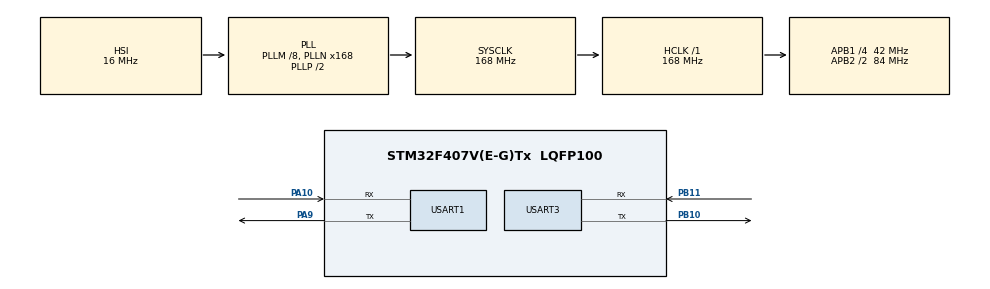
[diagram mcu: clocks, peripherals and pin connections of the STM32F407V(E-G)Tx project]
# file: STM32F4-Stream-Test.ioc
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Mcu.Family=STM32F4
Mcu.Name=STM32F407V(E-G)Tx
Mcu.Package=LQFP100
NVIC.PriorityGroup=NVIC_PRIORITYGROUP_4
PA10.Mode=Asynchronous
PA10.Signal=USART1_RX
PA9.Mode=Asynchronous
PA9.Signal=USART1_TX
PB10.Mode=Asynchronous
PB10.Signal=USART3_TX
PB11.Mode=Asynchronous
PB11.Signal=USART3_RX
ProjectManager.HeapSize=0x200
ProjectManager.StackSize=0x400
ProjectManager.TargetToolchain=MDK-ARM V5.27
RCC.48MHZClocksFreq_Value=84000000
RCC.AHBFreq_Value=168000000
RCC.APB1CLKDivider=RCC_HCLK_DIV4
RCC.APB1Freq_Value=42000000
RCC.APB1TimFreq_Value=84000000
RCC.APB2CLKDivider=RCC_HCLK_DIV2
RCC.APB2Freq_Value=84000000
RCC.APB2TimFreq_Value=168000000
RCC.CortexFreq_Value=168000000
RCC.HCLKFreq_Value=168000000
RCC.HSE_VALUE=25000000
RCC.HSI_VALUE=16000000
RCC.LSE_VALUE=32768
RCC.PLLM=8
RCC.PLLN=168
RCC.SYSCLKFreq_VALUE=168000000
RCC.SYSCLKSource=RCC_SYSCLKSOURCE_PLLCLK
RCC.VCOOutputFreq_Value=336000000
USART1.VirtualMode=VM_ASYNC
USART3.VirtualMode=VM_ASYNC
board=custom

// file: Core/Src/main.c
/* USER CODE BEGIN Header */
/**
  ******************************************************************************
  * @file           : main.c
  * @brief          : Main program body
  ******************************************************************************
  * @attention
  *
  * <h2><center>&copy; Copyright (c) 2024 STMicroelectronics.
  * All rights reserved.</center></h2>
  *
  * This software component is licensed by ST under BSD 3-Clause license,
  * the "License"; You may not use this file except in compliance with the
  * License. You may obtain a copy of the License at:
  *                        opensource.org/licenses/BSD-3-Clause
  *
  ******************************************************************************
  */
/* USER CODE END Header */
#include "main.h"
#include "usart.h"
#include "gpio.h"

/* USER CODE BEGIN Includes */
#include <stdio.h>
#include <string.h>

#include "StreamBuffer.h"

#if STREAM_WRITE && STREAM_PENDING_BYTES
    #include "OutputStream.h"
#endif
#if STREAM_READ && STREAM_PENDING_BYTES
    #include "InputStream.h"
#endif

#include <time.h>

/* USER CODE END Includes */

/* USER CODE BEGIN PD */
#define CYCLES_NUM                          20
// System Print log define
#define PRINTF                              printf
#define PRINT_DUMP                          1
// System Caluclate time define
#define SYSTEM_TIME_TYPE                    uint32_t
#define GET_SYSTEM_TIME()                   HAL_GetTick()
#define START_CALCULATE_TIME()              SYSTEM_TIME_TYPE elapsed = GET_SYSTEM_TIME()
#define CALCULATE_TIME()                    elapsed = GET_SYSTEM_TIME() - elapsed; \
                                            PRINTF("\n[Elapsed Time: %u]\n\n", elapsed)

/* USER CODE END PD */

/* USER CODE BEGIN PV */
volatile uint32_t assertResult;
volatile uint8_t cycles;
volatile uint8_t index = 0;
/* USER CODE END PV */

void SystemClock_Config(void);
/* USER CODE BEGIN PFP */
// assert functions
uint32_t Assert_Char(char num1, char num2, uint16_t line, uint8_t cycle, uint8_t index);
uint32_t Assert_Int8(int8_t num1, int8_t num2, uint16_t line, uint8_t cycle, uint8_t index);
uint32_t Assert_Int16(int16_t num1, int16_t num2, uint16_t line, uint8_t cycle, uint8_t index);
uint32_t Assert_Int32(int32_t num1, int32_t num2, uint16_t line, uint8_t cycle, uint8_t index);
uint32_t Assert_UInt8(uint8_t num1, uint8_t num2, uint16_t line, uint8_t cycle, uint8_t index);
uint32_t Assert_UInt16(uint16_t num1, uint16_t num2, uint16_t line, uint8_t cycle, uint8_t index);
uint32_t Assert_UInt32(uint32_t num1, uint32_t num2, uint16_t line, uint8_t cycle, uint8_t index);
uint32_t Assert_Float(float num1, float num2, uint16_t line, uint8_t cycle, uint8_t index);
#if STREAM_UINT64
    uint32_t Assert_Int64(int64_t num1, int64_t num2, uint16_t line, uint8_t cycle, uint8_t index);
    uint32_t Assert_UInt64(uint64_t num1, uint64_t num2, uint16_t line, uint8_t cycle, uint8_t index);
#endif // STREAM_UINT64
#if STREAM_DOUBLE
    uint32_t Assert_Double(double num1, double num2, uint16_t line, uint8_t cycle, uint8_t index);
#endif
uint32_t Assert_Bytes(uint8_t* a, uint8_t* b, uint32_t len, uint16_t line, uint8_t cycle, uint8_t index);

#define Assert_Result(...)                  __VA_ARGS__
#define Assert_Byte(...)                    Assert_UInt8(__VA_ARGS__)
#define Assert_Word(...)                    Assert_UInt16(__VA_ARGS__)
#define Assert_DWord(...)                   Assert_UInt32(__VA_ARGS__)
#define Assert_QWord(...)                   Assert_UInt64(__VA_ARGS__)

void Assert_dump(StreamBuffer* stream);

#if PRINT_DUMP == 0
    #define assert(TYPE, ...)               if ((assertResult = Assert_ ##TYPE (__VA_ARGS__, __LINE__, cycles, index)) != Stream_Ok) return assertResult;
#else
    #define assert(TYPE, ...)               if ((assertResult = Assert_ ##TYPE (__VA_ARGS__, __LINE__, cycles, index)) != Stream_Ok) { Assert_dump((StreamBuffer*) &stream); return assertResult; }
#endif

void printHeader(const char* header, char c);
/* USER CODE END PFP */

/* USER CODE BEGIN 0 */
typedef uint32_t (*Test_Fn)(void);

uint32_t Test_readWrite(void);
#if OSTREAM && ISTREAM
    uint32_t Test_IO_readWrite(void);
#endif
#if STREAM_WRITE_STREAM && STREAM_READ_STREAM
    uint32_t Test_readStream(void);
#if OSTREAM && ISTREAM
    uint32_t Test_IO_readStream(void);
#endif
#endif
#if STREAM_WRITE_FLIP && STREAM_READ_FLIP
    uint32_t Test_flip(void);
#endif
#if STREAM_WRITE_ARRAY && STREAM_READ_ARRAY
    uint32_t Test_readWriteArray(void);
#if OSTREAM && ISTREAM
    uint32_t Test_IO_readWriteArray(void);
#endif
#endif
#if STREAM_GET_AT
    uint32_t Test_get(void);
#if OSTREAM && ISTREAM
    uint32_t Test_IO_get(void);
#endif
#endif
#if STREAM_SET_AT
    uint32_t Test_set(void);
#if OSTREAM && ISTREAM
    uint32_t Test_IO_set(void);
#endif
#endif
#if STREAM_FIND_AT && STREAM_FIND
    uint32_t Test_find(void);
#if OSTREAM && ISTREAM
    uint32_t Test_IO_find(void);
#endif
#endif
#if STREAM_WRITE_LOCK && STREAM_READ_LOCK
    uint32_t Test_lock(void);
#endif
#if STREAM_TRANSPOSE
    uint32_t Test_transpose(void);
#if OSTREAM && ISTREAM
    uint32_t Test_IO_transpose(void);
#endif
#endif

static const Test_Fn TESTS[] = {
    Test_readWrite,
#if OSTREAM && ISTREAM
    Test_IO_readWrite,
#endif
#if STREAM_WRITE_STREAM && STREAM_READ_STREAM
    Test_readStream,
#if OSTREAM && ISTREAM
    Test_IO_readStream,
#endif
#endif
#if STREAM_WRITE_FLIP && STREAM_READ_FLIP
    Test_flip,
#endif
#if STREAM_WRITE_ARRAY && STREAM_READ_ARRAY
    Test_readWriteArray,
#if OSTREAM && ISTREAM
    Test_IO_readWriteArray,
#endif
#endif
#if STREAM_GET_AT && STREAM_GET
    Test_get,
#if OSTREAM && ISTREAM
    Test_IO_get,
#endif
#endif
#if STREAM_SET_AT
    Test_set,
#if OSTREAM && ISTREAM
    Test_IO_set,
#endif
#endif
#if STREAM_FIND_AT && STREAM_FIND
    Test_find,
#if OSTREAM && ISTREAM
    Test_IO_find,
#endif
#endif
#if STREAM_WRITE_LOCK && STREAM_READ_LOCK
    Test_lock,
#endif
#if STREAM_TRANSPOSE
    Test_transpose,
#if OSTREAM && ISTREAM
    Test_IO_transpose,
#endif
#endif
};
static const uint32_t TESTES_LEN = sizeof(TESTS) / sizeof(TESTS[0]);

/* USER CODE END 0 */

int main(void)
{

  /* MCU Configuration--------------------------------------------------------*/

  /* Reset of all peripherals, Initializes the Flash interface and the Systick. */
  HAL_Init();

  /* Configure the system clock */
  SystemClock_Config();

  /* Initialize all configured peripherals */
  MX_GPIO_Init();
  MX_USART1_UART_Init();
  MX_USART3_UART_Init();

  /* Infinite loop */
  /* USER CODE BEGIN WHILE */
	uint32_t result;
	uint32_t errorCount = 0;
	int testIndex;

	for (testIndex = 0; testIndex < TESTES_LEN; testIndex++) {
			START_CALCULATE_TIME();
			result = TESTS[testIndex]();
			CALCULATE_TIME();
			if (result) {
					errorCount++;
					PRINTF("Cycle: %3u, Index: %3u, Line: %3u\n\n", result & 0xFF, (result >> 8) & 0xFF, (result >> 16) & 0xFFFF);
			}
	}
	if (errorCount > 0) {
			PRINTF("Error Count: %u\n", errorCount);
	}
	else {
			PRINTF("Test Pass\n");
	}
  /* USER CODE END 3 */
}

void SystemClock_Config(void)
{
  RCC_OscInitTypeDef RCC_OscInitStruct = {0};
  RCC_ClkInitTypeDef RCC_ClkInitStruct = {0};

  /** Configure the main internal regulator output voltage
  */
  __HAL_RCC_PWR_CLK_ENABLE();
  __HAL_PWR_VOLTAGESCALING_CONFIG(PWR_REGULATOR_VOLTAGE_SCALE1);
  /** Initializes the RCC Oscillators according to the specified parameters
  * in the RCC_OscInitTypeDef structure.
  */
  RCC_OscInitStruct.OscillatorType = RCC_OSCILLATORTYPE_HSI;
  RCC_OscInitStruct.HSIState = RCC_HSI_ON;
  RCC_OscInitStruct.HSICalibrationValue = RCC_HSICALIBRATION_DEFAULT;
  RCC_OscInitStruct.PLL.PLLState = RCC_PLL_ON;
  RCC_OscInitStruct.PLL.PLLSource = RCC_PLLSOURCE_HSI;
  RCC_OscInitStruct.PLL.PLLM = 8;
  RCC_OscInitStruct.PLL.PLLN = 168;
  RCC_OscInitStruct.PLL.PLLP = RCC_PLLP_DIV2;
  RCC_OscInitStruct.PLL.PLLQ = 4;
  if (HAL_RCC_OscConfig(&RCC_OscInitStruct) != HAL_OK)
  {
    Error_Handler();
  }
  /** Initializes the CPU, AHB and APB buses clocks
  */
  RCC_ClkInitStruct.ClockType = RCC_CLOCKTYPE_HCLK|RCC_CLOCKTYPE_SYSCLK
                              |RCC_CLOCKTYPE_PCLK1|RCC_CLOCKTYPE_PCLK2;
  RCC_ClkInitStruct.SYSCLKSource = RCC_SYSCLKSOURCE_PLLCLK;
  RCC_ClkInitStruct.AHBCLKDivider = RCC_SYSCLK_DIV1;
  RCC_ClkInitStruct.APB1CLKDivider = RCC_HCLK_DIV4;
  RCC_ClkInitStruct.APB2CLKDivider = RCC_HCLK_DIV2;

  if (HAL_RCC_ClockConfig(&RCC_ClkInitStruct, FLASH_LATENCY_5) != HAL_OK)
  {
    Error_Handler();
  }
}

/* USER CODE BEGIN 4 */
/********************************************************/
void printHeader(const char* header, char c) {
    uint32_t len = 64 - strlen(header);

    len = len & ~0x1U;

    len >>= 1;

    for (uint32_t i = 0; i < len; i++) {
        PRINTF("%c", c);
    }
    PRINTF(" %s ", header);
    for (uint32_t i = 0; i < len; i++) {
        PRINTF("%c", c);
    }
    PRINTF("\n");
}
/********************************************************/
uint32_t Test_readWrite(void) {
    #define test(TYPE, N)               PRINTF("Write/Read " #TYPE ", %ux\n", N);\
                                        for (cycles = 0; cycles < CYCLES_NUM; cycles++) {\
                                            for (index = 0; index < N; index++) {\
                                                Stream_write ##TYPE (&stream, cycles * N + index);\
                                            }\
                                            for (index = 0; index < N; index++) {\
                                                assert(TYPE, Stream_read ##TYPE (&stream), cycles * N + index);\
                                            }\
                                        }

    #define testBytes(TYPE, PAT, N)     PRINTF("Write/Read " #TYPE ", %ux\n", N);\
                                        for (cycles = 0; cycles < CYCLES_NUM; cycles++) {\
                                            for (index = 0; index < N; index++) {\
                                                Stream_write ##TYPE (&stream, (uint8_t*) PAT, sizeof(PAT));\
                                            }\
                                            for (index = 0; index < N; index++) {\
                                                Stream_read ##TYPE (&stream, tempBuff, sizeof(PAT));\
                                                assert(Bytes, tempBuff, (uint8_t*) PAT, sizeof(PAT));\
                                            }\
                                        }

    printHeader("Read/Write", '#');

    const uint8_t PAT1[] = {
        0x11, 0x22, 0x33, 0x44, 0x55, 0x66, 0x77
    };
    const uint8_t PAT2[] = {
        0x1A, 0x2A, 0x3A, 0x4A, 0x5A,
    };
    const uint8_t PAT3[] = {
        0x1B, 0x2B, 0x3B,
    };
    const uint8_t PAT4[] = {
        0x1C, 0x2C, 0x3C, 0x4C,
    };
    uint8_t tempBuff[20];
    uint8_t streamBuff[37];
    StreamBuffer stream;

    Stream_init(&stream, streamBuff, sizeof(streamBuff));

    testBytes(Bytes, PAT1, 1);
    testBytes(Bytes, PAT1, 3);
    testBytes(Bytes, PAT1, 5);
    testBytes(Bytes, PAT1, 7);

    testBytes(Bytes, PAT2, 1);
    testBytes(Bytes, PAT2, 3);
    testBytes(Bytes, PAT2, 5);
    testBytes(Bytes, PAT2, 7);

    testBytes(Bytes, PAT3, 1);
    testBytes(Bytes, PAT3, 3);
    testBytes(Bytes, PAT3, 5);
    testBytes(Bytes, PAT3, 7);

    testBytes(Bytes, PAT4, 1);
    testBytes(Bytes, PAT4, 3);
    testBytes(Bytes, PAT4, 5);
    testBytes(Bytes, PAT4, 7);
#if STREAM_WRITE_REVERSE && STREAM_READ_REVERSE
    testBytes(BytesReverse, PAT1, 1);
    testBytes(BytesReverse, PAT1, 3);
    testBytes(BytesReverse, PAT1, 5);
    testBytes(BytesReverse, PAT1, 7);

    testBytes(BytesReverse, PAT2, 1);
    testBytes(BytesReverse, PAT2, 3);
    testBytes(BytesReverse, PAT2, 5);
    testBytes(BytesReverse, PAT2, 7);

    testBytes(BytesReverse, PAT3, 1);
    testBytes(BytesReverse, PAT3, 3);
    testBytes(BytesReverse, PAT3, 5);
    testBytes(BytesReverse, PAT3, 7);

    testBytes(BytesReverse, PAT4, 1);
    testBytes(BytesReverse, PAT4, 3);
    testBytes(BytesReverse, PAT4, 5);
    testBytes(BytesReverse, PAT4, 7);
#endif
#if STREAM_BYTE_ORDER
    for (ByteOrder order = ByteOrder_LittleEndian; order <= ByteOrder_BigEndian; order++) {
    Stream_setByteOrder(&stream, order);
    PRINTF("--------- Order: %u ---------\n", order);
#endif // STREAM_BYTE_ORDER

#if STREAM_CHAR
    test(Char, 1);
    test(Char, 3);
    test(Char, 5);
    test(Char, 7);
#endif
#if STREAM_UINT8
    test(Int8, 1);
    test(Int8, 3);
    test(Int8, 5);
    test(Int8, 7);

    test(UInt8, 1);
    test(UInt8, 3);
    test(UInt8, 5);
    test(UInt8, 7);
#endif
#if STREAM_UINT16
    test(Int16, 1);
    test(Int16, 3);
    test(Int16, 5);
    test(Int16, 7);

    test(UInt16, 1);
    test(UInt16, 3);
    test(UInt16, 5);
    test(UInt16, 7);
#endif
#if STREAM_UINT32
    test(Int32, 1);
    test(Int32, 3);
    test(Int32, 5);
    test(Int32, 7);

    test(UInt32, 1);
    test(UInt32, 3);
    test(UInt32, 5);
    test(UInt32, 7);
#endif
#if STREAM_UINT64
    test(Int64, 1);
    test(Int64, 3);
    test(Int64, 4);

    test(UInt64, 1);
    test(UInt64, 3);
    test(UInt64, 4);
#endif
#if STREAM_FLOAT
    test(Float, 1);
    test(Float, 3);
    test(Float, 5);
    test(Float, 7);
#endif
#if STREAM_DOUBLE
    test(Double, 1);
    test(Double, 3);
    test(Double, 4);
#endif

#if STREAM_BYTE_ORDER
    }
#endif // STREAM_BYTE_ORDER

    return 0;
#undef test
#undef testBytes
}
/********************************************************/
#if OSTREAM && ISTREAM
uint32_t Test_IO_readWrite(void) {
    #define test(TYPE, N)               PRINTF("Write/Read " #TYPE ", %ux\n", N);\
                                        for (cycles = 0; cycles < CYCLES_NUM; cycles++) {\
                                            for (index = 0; index < N; index++) {\
                                                OStream_write ##TYPE (&stream, cycles * N + index);\
                                            }\
                                            for (index = 0; index < N; index++) {\
                                                assert(TYPE, IStream_read ##TYPE (&stream), cycles * N + index);\
                                            }\
                                        }

    #define testBytes(TYPE, PAT, N)     PRINTF("Write/Read " #TYPE ", %ux\n", N);\
                                        for (cycles = 0; cycles < CYCLES_NUM; cycles++) {\
                                            for (index = 0; index < N; index++) {\
                                                OStream_write ##TYPE (&stream, (uint8_t*) PAT, sizeof(PAT));\
                                            }\
                                            for (index = 0; index < N; index++) {\
                                                IStream_read ##TYPE (&stream, tempBuff, sizeof(PAT));\
                                                assert(Bytes, tempBuff, (uint8_t*) PAT, sizeof(PAT));\
                                            }\
                                        }

    printHeader("IO Read/Write", '#');

    const uint8_t PAT1[] = {
        0x11, 0x22, 0x33, 0x44, 0x55, 0x66, 0x77
    };
    const uint8_t PAT2[] = {
        0x1A, 0x2A, 0x3A, 0x4A, 0x5A,
    };
    const uint8_t PAT3[] = {
        0x1B, 0x2B, 0x3B,
    };
    const uint8_t PAT4[] = {
        0x1C, 0x2C, 0x3C, 0x4C,
    };
    uint8_t tempBuff[20];
    uint8_t streamBuff[37];
    OStream stream;

    OStream_init(&stream, NULL, streamBuff, sizeof(streamBuff));

    testBytes(Bytes, PAT1, 1);
    testBytes(Bytes, PAT1, 3);
    testBytes(Bytes, PAT1, 5);
    testBytes(Bytes, PAT1, 7);

    testBytes(Bytes, PAT2, 1);
    testBytes(Bytes, PAT2, 3);
    testBytes(Bytes, PAT2, 5);
    testBytes(Bytes, PAT2, 7);

    testBytes(Bytes, PAT3, 1);
    testBytes(Bytes, PAT3, 3);
    testBytes(Bytes, PAT3, 5);
    testBytes(Bytes, PAT3, 7);

    testBytes(Bytes, PAT4, 1);
    testBytes(Bytes, PAT4, 3);
    testBytes(Bytes, PAT4, 5);
    testBytes(Bytes, PAT4, 7);
#if STREAM_WRITE_REVERSE && STREAM_READ_REVERSE
    testBytes(BytesReverse, PAT1, 1);
    testBytes(BytesReverse, PAT1, 3);
    testBytes(BytesReverse, PAT1, 5);
    testBytes(BytesReverse, PAT1, 7);

    testBytes(BytesReverse, PAT2, 1);
    testBytes(BytesReverse, PAT2, 3);
    testBytes(BytesReverse, PAT2, 5);
    testBytes(BytesReverse, PAT2, 7);

    testBytes(BytesReverse, PAT3, 1);
    testBytes(BytesReverse, PAT3, 3);
    testBytes(BytesReverse, PAT3, 5);
    testBytes(BytesReverse, PAT3, 7);

    testBytes(BytesReverse, PAT4, 1);
    testBytes(BytesReverse, PAT4, 3);
    testBytes(BytesReverse, PAT4, 5);
    testBytes(BytesReverse, PAT4, 7);
#endif
#if STREAM_BYTE_ORDER
    for (ByteOrder order = ByteOrder_LittleEndian; order <= ByteOrder_BigEndian; order++) {
    OStream_setByteOrder(&stream, order);
    PRINTF("--------- Order: %u ---------\n", order);
#endif // STREAM_BYTE_ORDER

#if STREAM_CHAR
    test(Char, 1);
    test(Char, 3);
    test(Char, 5);
    test(Char, 7);
#endif
#if STREAM_UINT8
    test(Int8, 1);
    test(Int8, 3);
    test(Int8, 5);
    test(Int8, 7);

    test(UInt8, 1);
    test(UInt8, 3);
    test(UInt8, 5);
    test(UInt8, 7);
#endif
#if STREAM_UINT16
    test(Int16, 1);
    test(Int16, 3);
    test(Int16, 5);
    test(Int16, 7);

    test(UInt16, 1);
    test(UInt16, 3);
    test(UInt16, 5);
    test(UInt16, 7);
#endif
#if STREAM_UINT32
    test(Int32, 1);
    test(Int32, 3);
    test(Int32, 5);
    test(Int32, 7);

    test(UInt32, 1);
    test(UInt32, 3);
    test(UInt32, 5);
    test(UInt32, 7);
#endif
#if STREAM_UINT64
    test(Int64, 1);
    test(Int64, 3);
    test(Int64, 4);

    test(UInt64, 1);
    test(UInt64, 3);
    test(UInt64, 4);
#endif
#if STREAM_FLOAT
    test(Float, 1);
    test(Float, 3);
    test(Float, 5);
    test(Float, 7);
#endif
#if STREAM_DOUBLE
    test(Double, 1);
    test(Double, 3);
    test(Double, 4);
#endif

#if STREAM_BYTE_ORDER
    }
#endif // STREAM_BYTE_ORDER

    return 0;
#undef test
#undef testBytes
}
#endif
/********************************************************/
#if STREAM_WRITE_STREAM && STREAM_READ_STREAM
uint32_t Test_readStream(void) {
// for compatibility with print dump
#define stream      out

    printHeader("Read Stream", '#');

    const uint8_t PAT[] = {
        0x11, 0x22, 0x33, 0x44, 0x55, 0x66, 0x77
    };

    uint8_t tempBuff[40];
    uint8_t inBuff[40];
    uint8_t outBuff[40];
    StreamBuffer in;
    StreamBuffer out;
    int cycles;

    Stream_init(&in, inBuff, sizeof(inBuff));
    Stream_init(&out, outBuff, sizeof(outBuff));

    for (cycles = 0; cycles < CYCLES_NUM; cycles++) {
        // write to out
        Stream_writeBytes(&out, (uint8_t*) PAT, sizeof(PAT));
        // transfer output to input
        Stream_readStream(&out, &in, Stream_available(&out));
        // read from input
        Stream_readBytes(&in, tempBuff, Stream_available(&in));
        // verify
        assert(Bytes, tempBuff, (uint8_t*) PAT, sizeof(PAT));
        // clear temp
        memset(tempBuff, 0, sizeof(tempBuff));
    }

    return 0;
#undef stream
}
/********************************************************/
#if OSTREAM && ISTREAM
uint32_t Test_IO_readStream(void) {
// for compatibility with print dump
#define stream      out

    printHeader("IO Read Stream", '#');

    const uint8_t PAT[] = {
        0x11, 0x22, 0x33, 0x44, 0x55, 0x66, 0x77
    };

    uint8_t tempBuff[40];
    uint8_t inBuff[40];
    uint8_t outBuff[40];
    IStream in;
    OStream out;
    int cycles;

    IStream_init(&in, NULL, inBuff, sizeof(inBuff));
    OStream_init(&out, NULL, outBuff, sizeof(outBuff));

    for (cycles = 0; cycles < CYCLES_NUM; cycles++) {
        // write to out
        OStream_writeBytes(&out, (uint8_t*) PAT, sizeof(PAT));
        // transfer output to input
        IStream_readStream(&out, &in, OStream_pendingBytes(&out));
        // read from input
        IStream_readBytes(&in, tempBuff, IStream_available(&in));
        // verify
        assert(Bytes, tempBuff, (uint8_t*) PAT, sizeof(PAT));
        // clear temp
        memset(tempBuff, 0, sizeof(tempBuff));
    }

    return 0;
#undef stream
}
#endif
#endif
/********************************************************/
#if STREAM_WRITE_ARRAY && STREAM_READ_ARRAY
uint32_t Test_readWriteArray(void) {
    #define test(TYPE, VAL_TY, L)       { \
                                            VAL_TY val[L] = {0}; \
                                            VAL_TY tmp[L] = {0}; \
                                            PRINTF("Write/Read Array " #TYPE ", %ux\n", L);\
                                            for (cycles = 0; cycles < CYCLES_NUM; cycles++) {\
                                                for (index = 0; index < L; index++) {\
                                                    val[index] =  cycles * L + index;\
                                                } \
                                                Stream_write ##TYPE ##Array (&stream, val, L); \
                                                Stream_read ##TYPE ##Array (&stream, tmp, L); \
                                                for (index = 0; index < L; index++) { \
                                                    assert(TYPE, tmp[index], val[index]); \
                                                } \
                                            } \
                                        }

    printHeader("Read/Write Array", '#');

    uint8_t streamBuff[37];
    StreamBuffer stream;

    Stream_init(&stream, streamBuff, sizeof(streamBuff));

#if STREAM_BYTE_ORDER
    for (ByteOrder order = ByteOrder_LittleEndian; order <= ByteOrder_BigEndian; order++) {
    Stream_setByteOrder(&stream, order);
    PRINTF("--------- Array Order: %u ---------\n", order);
#endif // STREAM_BYTE_ORDER

#if STREAM_CHAR
    test(Char, char, 1);
    test(Char, char, 3);
    test(Char, char, 5);
    test(Char, char, 7);
#endif
#if STREAM_UINT8
    test(Int8, int8_t, 1);
    test(Int8, int8_t, 3);
    test(Int8, int8_t, 5);
    test(Int8, int8_t, 7);

    test(UInt8, uint8_t, 1);
    test(UInt8, uint8_t, 3);
    test(UInt8, uint8_t, 5);
    test(UInt8, uint8_t, 7);
#endif
#if STREAM_UINT16
    test(Int16, int16_t, 1);
    test(Int16, int16_t, 3);
    test(Int16, int16_t, 5);
    test(Int16, int16_t, 7);

    test(UInt16, uint16_t, 1);
    test(UInt16, uint16_t, 3);
    test(UInt16, uint16_t, 5);
    test(UInt16, uint16_t, 7);
#endif
#if STREAM_UINT32
    test(Int32, int32_t, 1);
    test(Int32, int32_t, 3);
    test(Int32, int32_t, 5);
    test(Int32, int32_t, 7);

    test(UInt32, uint32_t, 1);
    test(UInt32, uint32_t, 3);
    test(UInt32, uint32_t, 5);
    test(UInt32, uint32_t, 7);
#endif
#if STREAM_UINT64
    test(Int64, int64_t, 1);
    test(Int64, int64_t, 3);
    test(Int64, int64_t, 4);

    test(UInt64, uint64_t, 1);
    test(UInt64, uint64_t, 3);
    test(UInt64, uint64_t, 4);
#endif
#if STREAM_FLOAT
    test(Float, float, 1);
    test(Float, float, 3);
    test(Float, float, 5);
    test(Float, float, 7);
#endif
#if STREAM_DOUBLE
    test(Double, double, 1);
    test(Double, double, 3);
    test(Double, double, 4);
#endif

#if STREAM_BYTE_ORDER
    }
#endif // STREAM_BYTE_ORDER

    return 0;
#undef test
}
/********************************************************/
#if OSTREAM && ISTREAM
uint32_t Test_IO_readWriteArray(void) {
    #define test(TYPE, VAL_TY, L)       { \
                                            VAL_TY val[L] = {0}; \
                                            VAL_TY tmp[L] = {0}; \
                                            PRINTF("Write/Read Array " #TYPE ", %ux\n", L);\
                                            for (cycles = 0; cycles < CYCLES_NUM; cycles++) {\
                                                for (index = 0; index < L; index++) {\
                                                    val[index] =  cycles * L + index;\
                                                } \
                                                OStream_write ##TYPE ##Array (&stream, val, L); \
                                                IStream_read ##TYPE ##Array (&stream, tmp, L); \
                                                for (index = 0; index < L; index++) { \
                                                    assert(TYPE, tmp[index], val[index]); \
                                                } \
                                            } \
                                        }

    printHeader("IO Read/Write Array", '#');

    uint8_t streamBuff[37];
    OStream stream;

    OStream_init(&stream, NULL, streamBuff, sizeof(streamBuff));

#if STREAM_BYTE_ORDER
    for (ByteOrder order = ByteOrder_LittleEndian; order <= ByteOrder_BigEndian; order++) {
    OStream_setByteOrder(&stream, order);
    PRINTF("--------- Array Order: %u ---------\n", order);
#endif // STREAM_BYTE_ORDER

#if STREAM_CHAR
    test(Char, char, 1);
    test(Char, char, 3);
    test(Char, char, 5);
    test(Char, char, 7);
#endif
#if STREAM_UINT8
    test(Int8, int8_t, 1);
    test(Int8, int8_t, 3);
    test(Int8, int8_t, 5);
    test(Int8, int8_t, 7);

    test(UInt8, uint8_t, 1);
    test(UInt8, uint8_t, 3);
    test(UInt8, uint8_t, 5);
    test(UInt8, uint8_t, 7);
#endif
#if STREAM_UINT16
    test(Int16, int16_t, 1);
    test(Int16, int16_t, 3);
    test(Int16, int16_t, 5);
    test(Int16, int16_t, 7);

    test(UInt16, uint16_t, 1);
    test(UInt16, uint16_t, 3);
    test(UInt16, uint16_t, 5);
    test(UInt16, uint16_t, 7);
#endif
#if STREAM_UINT32
    test(Int32, int32_t, 1);
    test(Int32, int32_t, 3);
    test(Int32, int32_t, 5);
    test(Int32, int32_t, 7);

    test(UInt32, uint32_t, 1);
    test(UInt32, uint32_t, 3);
    test(UInt32, uint32_t, 5);
    test(UInt32, uint32_t, 7);
#endif
#if STREAM_UINT64
    test(Int64, int64_t, 1);
    test(Int64, int64_t, 3);
    test(Int64, int64_t, 4);

    test(UInt64, uint64_t, 1);
    test(UInt64, uint64_t, 3);
    test(UInt64, uint64_t, 4);
#endif
#if STREAM_FLOAT
    test(Float, float, 1);
    test(Float, float, 3);
    test(Float, float, 5);
    test(Float, float, 7);
#endif
#if STREAM_DOUBLE
    test(Double, double, 1);
    test(Double, double, 3);
    test(Double, double, 4);
#endif

#if STREAM_BYTE_ORDER
    }
#endif // STREAM_BYTE_ORDER

    return 0;
#undef test
}
#endif
#endif
/********************************************************/
#if STREAM_GET_AT
uint32_t Test_get(void) {
    #define test(TYPE, VAL_TY, N)       { \
                                            PRINTF("Get " #TYPE ", %ux\n", N);\
                                            for (cycles = 0; cycles < CYCLES_NUM; cycles++) {\
                                                for (index = 0; index < N; index++) {\
                                                    Stream_write ##TYPE (&stream, cycles * N + index); \
                                                } \
                                                for (index = 0; index < N; index++) { \
                                                    assert(TYPE, Stream_get ##TYPE ##At (&stream, index * sizeof(VAL_TY)), cycles * N + index); \
                                                } \
                                                Stream_moveReadPos(&stream, N * sizeof(VAL_TY)); \
                                            } \
                                        }

    printHeader("Get", '#');

    uint8_t streamBuff[37];
    StreamBuffer stream;

    Stream_init(&stream, streamBuff, sizeof(streamBuff));

#if STREAM_BYTE_ORDER
    for (ByteOrder order = ByteOrder_LittleEndian; order <= ByteOrder_BigEndian; order++) {
    Stream_setByteOrder(&stream, order);
    PRINTF("--------- Get Order: %u ---------\n", order);
#endif // STREAM_BYTE_ORDER

#if STREAM_CHAR
    test(Char, char, 1);
    test(Char, char, 3);
    test(Char, char, 5);
    test(Char, char, 7);
#endif
#if STREAM_UINT8
    test(Int8, int8_t, 1);
    test(Int8, int8_t, 3);
    test(Int8, int8_t, 5);
    test(Int8, int8_t, 7);

    test(UInt8, uint8_t, 1);
    test(UInt8, uint8_t, 3);
    test(UInt8, uint8_t, 5);
    test(UInt8, uint8_t, 7);
#endif
#if STREAM_UINT16
    test(Int16, int16_t, 1);
    test(Int16, int16_t, 3);
    test(Int16, int16_t, 5);
    test(Int16, int16_t, 7);

    test(UInt16, uint16_t, 1);
    test(UInt16, uint16_t, 3);
    test(UInt16, uint16_t, 5);
    test(UInt16, uint16_t, 7);
#endif
#if STREAM_UINT32
    test(Int32, int32_t, 1);
    test(Int32, int32_t, 3);
    test(Int32, int32_t, 5);
    test(Int32, int32_t, 7);

    test(UInt32, uint32_t, 1);
    test(UInt32, uint32_t, 3);
    test(UInt32, uint32_t, 5);
    test(UInt32, uint32_t, 7);
#endif
#if STREAM_UINT64
    test(Int64, int64_t, 1);
    test(Int64, int64_t, 3);
    test(Int64, int64_t, 4);

    test(UInt64, uint64_t, 1);
    test(UInt64, uint64_t, 3);
    test(UInt64, uint64_t, 4);
#endif
#if STREAM_FLOAT
    test(Float, float, 1);
    test(Float, float, 3);
    test(Float, float, 5);
    test(Float, float, 7);
#endif
#if STREAM_DOUBLE
    test(Double, double, 1);
    test(Double, double, 3);
    test(Double, double, 4);
#endif
#if STREAM_BYTE_ORDER
    }
#endif // STREAM_BYTE_ORDER

    return 0;
#undef test
}
/********************************************************/
#if OSTREAM && ISTREAM
uint32_t Test_IO_get(void) {
    #define test(TYPE, VAL_TY, N)       { \
                                            PRINTF("Get " #TYPE ", %ux\n", N);\
                                            for (cycles = 0; cycles < CYCLES_NUM; cycles++) {\
                                                for (index = 0; index < N; index++) {\
                                                    OStream_write ##TYPE (&stream, cycles * N + index); \
                                                } \
                                                for (index = 0; index < N; index++) { \
                                                    assert(TYPE, IStream_get ##TYPE ##At (&stream, index * sizeof(VAL_TY)), cycles * N + index); \
                                                } \
                                                IStream_ignore(&stream, N * sizeof(VAL_TY)); \
                                            } \
                                        }

    printHeader("IO Get", '#');

    uint8_t streamBuff[37];
    IStream stream;

    IStream_init(&stream, NULL, streamBuff, sizeof(streamBuff));

#if STREAM_BYTE_ORDER
    for (ByteOrder order = ByteOrder_LittleEndian; order <= ByteOrder_BigEndian; order++) {
    IStream_setByteOrder(&stream, order);
    PRINTF("--------- Get Order: %u ---------\n", order);
#endif // STREAM_BYTE_ORDER

#if STREAM_CHAR
    test(Char, char, 1);
    test(Char, char, 3);
    test(Char, char, 5);
    test(Char, char, 7);
#endif
#if STREAM_UINT8
    test(Int8, int8_t, 1);
    test(Int8, int8_t, 3);
    test(Int8, int8_t, 5);
    test(Int8, int8_t, 7);

    test(UInt8, uint8_t, 1);
    test(UInt8, uint8_t, 3);
    test(UInt8, uint8_t, 5);
    test(UInt8, uint8_t, 7);
#endif
#if STREAM_UINT16
    test(Int16, int16_t, 1);
    test(Int16, int16_t, 3);
    test(Int16, int16_t, 5);
    test(Int16, int16_t, 7);

    test(UInt16, uint16_t, 1);
    test(UInt16, uint16_t, 3);
    test(UInt16, uint16_t, 5);
    test(UInt16, uint16_t, 7);
#endif
#if STREAM_UINT32
    test(Int32, int32_t, 1);
    test(Int32, int32_t, 3);
    test(Int32, int32_t, 5);
    test(Int32, int32_t, 7);

    test(UInt32, uint32_t, 1);
    test(UInt32, uint32_t, 3);
    test(UInt32, uint32_t, 5);
    test(UInt32, uint32_t, 7);
#endif
#if STREAM_UINT64
    test(Int64, int64_t, 1);
    test(Int64, int64_t, 3);
    test(Int64, int64_t, 4);

    test(UInt64, uint64_t, 1);
    test(UInt64, uint64_t, 3);
    test(UInt64, uint64_t, 4);
#endif
#if STREAM_FLOAT
    test(Float, float, 1);
    test(Float, float, 3);
    test(Float, float, 5);
    test(Float, float, 7);
#endif
#if STREAM_DOUBLE
    test(Double, double, 1);
    test(Double, double, 3);
    test(Double, double, 4);
#endif
#if STREAM_BYTE_ORDER
    }
#endif // STREAM_BYTE_ORDER

    return 0;
#undef test
}
#endif
#endif
/********************************************************/
#if STREAM_SET_AT
uint32_t Test_set(void) {
    #define test(TYPE, VAL_TY, N)       { \
                                            PRINTF("Set " #TYPE ", %ux\n", N);\
                                            for (cycles = 0; cycles < CYCLES_NUM; cycles++) {\
                                                Stream_moveWritePos(&stream, N * sizeof(VAL_TY)); \
                                                for (index = 0; index < N; index++) { \
                                                    Stream_set ##TYPE ##At (&stream, index * sizeof(VAL_TY), cycles * N + index); \
                                                } \
                                                for (index = 0; index < N; index++) { \
                                                    assert(TYPE, Stream_read ##TYPE (&stream), cycles * N + index); \
                                                } \
                                            } \
                                        }

    printHeader("Set", '#');

    uint8_t streamBuff[37];
    StreamBuffer stream;

    Stream_init(&stream, streamBuff, sizeof(streamBuff));

#if STREAM_BYTE_ORDER
    for (ByteOrder order = ByteOrder_LittleEndian; order <= ByteOrder_BigEndian; order++) {
    Stream_setByteOrder(&stream, order);
    PRINTF("--------- Set Order: %u ---------\n", order);
#endif // STREAM_BYTE_ORDER

#if STREAM_CHAR
    test(Char, char, 1);
    test(Char, char, 3);
    test(Char, char, 5);
    test(Char, char, 7);
#endif
#if STREAM_UINT8
    test(Int8, int8_t, 1);
    test(Int8, int8_t, 3);
    test(Int8, int8_t, 5);
    test(Int8, int8_t, 7);

    test(UInt8, uint8_t, 1);
    test(UInt8, uint8_t, 3);
    test(UInt8, uint8_t, 5);
    test(UInt8, uint8_t, 7);
#endif
#if STREAM_UINT16
    test(Int16, int16_t, 1);
    test(Int16, int16_t, 3);
    test(Int16, int16_t, 5);
    test(Int16, int16_t, 7);

    test(UInt16, uint16_t, 1);
    test(UInt16, uint16_t, 3);
    test(UInt16, uint16_t, 5);
    test(UInt16, uint16_t, 7);
#endif
#if STREAM_UINT32
    test(Int32, int32_t, 1);
    test(Int32, int32_t, 3);
    test(Int32, int32_t, 5);
    test(Int32, int32_t, 7);

    test(UInt32, uint32_t, 1);
    test(UInt32, uint32_t, 3);
    test(UInt32, uint32_t, 5);
    test(UInt32, uint32_t, 7);
#endif
#if STREAM_UINT64
    test(Int64, int64_t, 1);
    test(Int64, int64_t, 3);
    test(Int64, int64_t, 4);

    test(UInt64, uint64_t, 1);
    test(UInt64, uint64_t, 3);
    test(UInt64, uint64_t, 4);
#endif
#if STREAM_FLOAT
    test(Float, float, 1);
    test(Float, float, 3);
    test(Float, float, 5);
    test(Float, float, 7);
#endif
#if STREAM_DOUBLE
    test(Double, double, 1);
    test(Double, double, 3);
    test(Double, double, 4);
#endif
#if STREAM_BYTE_ORDER
    }
#endif // STREAM_BYTE_ORDER

    return 0;
#undef test
}
/********************************************************/
#if OSTREAM && ISTREAM
uint32_t Test_IO_set(void) {
    #define test(TYPE, VAL_TY, N)       { \
                                            PRINTF("Set " #TYPE ", %ux\n", N);\
                                            for (cycles = 0; cycles < CYCLES_NUM; cycles++) {\
                                                OStream_ignore(&stream, N * sizeof(VAL_TY)); \
                                                for (index = 0; index < N; index++) { \
                                                    OStream_set ##TYPE ##At (&stream, index * sizeof(VAL_TY), cycles * N + index); \
                                                } \
                                                for (index = 0; index < N; index++) { \
                                                    assert(TYPE, IStream_read ##TYPE (&stream), cycles * N + index); \
                                                } \
                                            } \
                                        }

    printHeader("IO Set", '#');

    uint8_t streamBuff[37];
    OStream stream;

    OStream_init(&stream, NULL, streamBuff, sizeof(streamBuff));

#if STREAM_BYTE_ORDER
    for (ByteOrder order = ByteOrder_LittleEndian; order <= ByteOrder_BigEndian; order++) {
    OStream_setByteOrder(&stream, order);
    PRINTF("--------- Set Order: %u ---------\n", order);
#endif // STREAM_BYTE_ORDER

#if STREAM_CHAR
    test(Char, char, 1);
    test(Char, char, 3);
    test(Char, char, 5);
    test(Char, char, 7);
#endif
#if STREAM_UINT8
    test(Int8, int8_t, 1);
    test(Int8, int8_t, 3);
    test(Int8, int8_t, 5);
    test(Int8, int8_t, 7);

    test(UInt8, uint8_t, 1);
    test(UInt8, uint8_t, 3);
    test(UInt8, uint8_t, 5);
    test(UInt8, uint8_t, 7);
#endif
#if STREAM_UINT16
    test(Int16, int16_t, 1);
    test(Int16, int16_t, 3);
    test(Int16, int16_t, 5);
    test(Int16, int16_t, 7);

    test(UInt16, uint16_t, 1);
    test(UInt16, uint16_t, 3);
    test(UInt16, uint16_t, 5);
    test(UInt16, uint16_t, 7);
#endif
#if STREAM_UINT32
    test(Int32, int32_t, 1);
    test(Int32, int32_t, 3);
    test(Int32, int32_t, 5);
    test(Int32, int32_t, 7);

    test(UInt32, uint32_t, 1);
    test(UInt32, uint32_t, 3);
    test(UInt32, uint32_t, 5);
    test(UInt32, uint32_t, 7);
#endif
#if STREAM_UINT64
    test(Int64, int64_t, 1);
    test(Int64, int64_t, 3);
    test(Int64, int64_t, 4);

    test(UInt64, uint64_t, 1);
    test(UInt64, uint64_t, 3);
    test(UInt64, uint64_t, 4);
#endif
#if STREAM_FLOAT
    test(Float, float, 1);
    test(Float, float, 3);
    test(Float, float, 5);
    test(Float, float, 7);
#endif
#if STREAM_DOUBLE
    test(Double, double, 1);
    test(Double, double, 3);
    test(Double, double, 4);
#endif
#if STREAM_BYTE_ORDER
    }
#endif // STREAM_BYTE_ORDER

    return 0;
#undef test
}
#endif
#endif
/********************************************************/
#if STREAM_FIND_AT && STREAM_FIND
uint32_t Test_find(void) {
    #define test(TYPE, VAL_TY, N)       { \
                                            PRINTF("Find " #TYPE ", %ux\n", N);\
                                            for (cycles = 0; cycles < CYCLES_NUM; cycles++) {\
                                                for (index = 0; index < N; index++) {\
                                                    Stream_write ##TYPE (&stream, (VAL_TY) (cycles * N + index)); \
                                                } \
                                                for (index = 0; index < N; index++) { \
                                                    assert(TYPE, Stream_find ##TYPE (&stream, (VAL_TY) (cycles * N + index)), (VAL_TY) (index * sizeof(VAL_TY))); \
                                                } \
                                                Stream_resetIO(&stream); \
                                            } \
                                        }

    printHeader("Find", '#');

    uint8_t streamBuff[37];
    StreamBuffer stream;

    Stream_init(&stream, streamBuff, sizeof(streamBuff));

#if STREAM_BYTE_ORDER
    for (ByteOrder order = ByteOrder_LittleEndian; order <= ByteOrder_BigEndian; order++) {
    Stream_setByteOrder(&stream, order);
    PRINTF("--------- Find Order: %u ---------\n", order);
#endif // STREAM_BYTE_ORDER

#if STREAM_CHAR
    test(Char, char, 1);
    test(Char, char, 3);
    test(Char, char, 5);
    test(Char, char, 7);
#endif
#if STREAM_UINT8
    test(Int8, int8_t, 1);
    test(Int8, int8_t, 3);
    test(Int8, int8_t, 5);
    test(Int8, int8_t, 7);

    test(UInt8, uint8_t, 1);
    test(UInt8, uint8_t, 3);
    test(UInt8, uint8_t, 5);
    test(UInt8, uint8_t, 7);
#endif
#if STREAM_UINT16
    test(Int16, int16_t, 1);
    test(Int16, int16_t, 3);
    test(Int16, int16_t, 5);
    test(Int16, int16_t, 7);

    test(UInt16, uint16_t, 1);
    test(UInt16, uint16_t, 3);
    test(UInt16, uint16_t, 5);
    test(UInt16, uint16_t, 7);
#endif
#if STREAM_UINT32
    test(Int32, int32_t, 1);
    test(Int32, int32_t, 3);
    test(Int32, int32_t, 5);
    test(Int32, int32_t, 7);

    test(UInt32, uint32_t, 1);
    test(UInt32, uint32_t, 3);
    test(UInt32, uint32_t, 5);
    test(UInt32, uint32_t, 7);
#endif
#if STREAM_UINT64
    test(Int64, int64_t, 1);
    test(Int64, int64_t, 3);
    test(Int64, int64_t, 4);

    test(UInt64, uint64_t, 1);
    test(UInt64, uint64_t, 3);
    test(UInt64, uint64_t, 4);
#endif
#if STREAM_FLOAT
    test(Float, float, 1);
    test(Float, float, 3);
    test(Float, float, 5);
    test(Float, float, 7);
#endif
#if STREAM_DOUBLE
    test(Double, double, 1);
    test(Double, double, 3);
    test(Double, double, 4);
#endif

#if STREAM_BYTE_ORDER
    }
#endif // STREAM_BYTE_ORDER

    return 0;
#undef test
}
/********************************************************/
#if OSTREAM && ISTREAM
uint32_t Test_IO_find(void) {
    #define test(TYPE, VAL_TY, N)       { \
                                            PRINTF("Find " #TYPE ", %ux\n", N);\
                                            for (cycles = 0; cycles < CYCLES_NUM; cycles++) {\
                                                for (index = 0; index < N; index++) {\
                                                    OStream_write ##TYPE (&stream, (VAL_TY) (cycles * N + index)); \
                                                } \
                                                for (index = 0; index < N; index++) { \
                                                    assert(TYPE, IStream_find ##TYPE (&stream, (VAL_TY) (cycles * N + index)), (VAL_TY) (index * sizeof(VAL_TY))); \
                                                } \
                                                IStream_resetIO(&stream); \
                                            } \
                                        }

    printHeader("IO Find", '#');

    uint8_t streamBuff[37];
    IStream stream;

    IStream_init(&stream, NULL, streamBuff, sizeof(streamBuff));

#if STREAM_BYTE_ORDER
    for (ByteOrder order = ByteOrder_LittleEndian; order <= ByteOrder_BigEndian; order++) {
    IStream_setByteOrder(&stream, order);
    PRINTF("--------- Find Order: %u ---------\n", order);
#endif // STREAM_BYTE_ORDER

#if STREAM_CHAR
    test(Char, char, 1);
    test(Char, char, 3);
    test(Char, char, 5);
    test(Char, char, 7);
#endif
#if STREAM_UINT8
    test(Int8, int8_t, 1);
    test(Int8, int8_t, 3);
    test(Int8, int8_t, 5);
    test(Int8, int8_t, 7);

    test(UInt8, uint8_t, 1);
    test(UInt8, uint8_t, 3);
    test(UInt8, uint8_t, 5);
    test(UInt8, uint8_t, 7);
#endif
#if STREAM_UINT16
    test(Int16, int16_t, 1);
    test(Int16, int16_t, 3);
    test(Int16, int16_t, 5);
    test(Int16, int16_t, 7);

    test(UInt16, uint16_t, 1);
    test(UInt16, uint16_t, 3);
    test(UInt16, uint16_t, 5);
    test(UInt16, uint16_t, 7);
#endif
#if STREAM_UINT32
    test(Int32, int32_t, 1);
    test(Int32, int32_t, 3);
    test(Int32, int32_t, 5);
    test(Int32, int32_t, 7);

    test(UInt32, uint32_t, 1);
    test(UInt32, uint32_t, 3);
    test(UInt32, uint32_t, 5);
    test(UInt32, uint32_t, 7);
#endif
#if STREAM_UINT64
    test(Int64, int64_t, 1);
    test(Int64, int64_t, 3);
    test(Int64, int64_t, 4);

    test(UInt64, uint64_t, 1);
    test(UInt64, uint64_t, 3);
    test(UInt64, uint64_t, 4);
#endif
#if STREAM_FLOAT
    test(Float, float, 1);
    test(Float, float, 3);
    test(Float, float, 5);
    test(Float, float, 7);
#endif
#if STREAM_DOUBLE
    test(Double, double, 1);
    test(Double, double, 3);
    test(Double, double, 4);
#endif

#if STREAM_BYTE_ORDER
    }
#endif // STREAM_BYTE_ORDER

    return 0;
#undef test
}
#endif
#endif
/********************************************************/
#if STREAM_WRITE_FLIP && STREAM_READ_FLIP
uint32_t Test_flip(void) {
    #define testFlipWrite(N, W, R, O)           Stream_init(&stream, streamBuff, sizeof(streamBuff));\
                                                stream.WPos = (W);\
                                                stream.RPos = (R);\
                                                stream.Overflow = (O);\
                                                Stream_flipWrite(&stream, (N));\
                                                assert(UInt32, Stream_space(&stream), (N));

    #define testFlipRead(N, W, R, O)            Stream_init(&stream, streamBuff, sizeof(streamBuff));\
                                                stream.WPos = (W);\
                                                stream.RPos = (R);\
                                                stream.Overflow = (O);\
                                                Stream_flipRead(&stream, (N));\
                                                assert(UInt32, Stream_available(&stream), (N));

    printHeader("Flip", '#');

    uint8_t streamBuff[36];
    StreamBuffer stream;

    testFlipWrite(0, 0, 0, 0);
    testFlipWrite(4, 0, 0, 0);
    testFlipWrite(4, 4, 0, 0);
    testFlipWrite(36, 0, 0, 0);
    testFlipWrite(36, 4, 4, 0);
    testFlipWrite(36, 32, 32, 0);
    testFlipWrite(0, 8, 0, 0);
    testFlipWrite(4, 8, 0, 0);
    testFlipWrite(4, 12, 4, 0);
    testFlipWrite(0, 32, 32, 0);
    testFlipWrite(4, 32, 32, 0);
    testFlipWrite(0, 4, 8, 1);
    testFlipWrite(4, 4, 8, 1);
    testFlipWrite(4, 12, 8, 0);
    testFlipWrite(0, 28, 32, 1);
    testFlipWrite(4, 28, 32, 1);
    testFlipWrite(4, 20, 32, 1);

    return 0;
#undef testFlipWrite
}
#endif
/********************************************************/
#if STREAM_WRITE_LOCK && STREAM_READ_LOCK
uint32_t Test_lock(void) {
    #define testLock(PAT, N)                    PRINTF("Lock R/W " #PAT " , %ux\n", N);\
                                                for (cycles = 0; cycles < CYCLES_NUM; cycles++) {\
                                                    for (index = 0; index < N; index++) {\
                                                        assert(UInt32, Stream_space(&stream), stream.Size - index * sizeof(PAT));\
                                                        Stream_lockWrite(&stream, &lock, sizeof(PAT));\
                                                        assert(UInt32, Stream_space(&lock), sizeof(PAT));\
                                                        Stream_unlockWrite(&stream, &lock);\
                                                        assert(UInt32, Stream_space(&stream), stream.Size - index * sizeof(PAT));\
                                                        Stream_lockWrite(&stream, &lock, sizeof(PAT));\
                                                        assert(UInt32, Stream_space(&lock), sizeof(PAT));\
                                                        Stream_writeBytes(&lock, (uint8_t*) PAT, sizeof(PAT));\
                                                        assert(UInt32, Stream_space(&lock), 0);\
                                                        Stream_unlockWrite(&stream, &lock);\
                                                    }\
                                                    for (index = 0; index < N; index++) {\
                                                        assert(UInt32, Stream_available(&stream), sizeof(PAT) * (N - index));\
                                                        Stream_lockRead(&stream, &lock, sizeof(PAT));\
                                                        assert(UInt32, Stream_available(&lock), sizeof(PAT));\
                                                        Stream_unlockRead(&stream, &lock);\
                                                        assert(UInt32, Stream_available(&stream), sizeof(PAT) * (N - index));\
                                                        Stream_lockRead(&stream, &lock, sizeof(PAT));\
                                                        assert(UInt32, Stream_available(&lock), sizeof(PAT));\
                                                        Stream_readBytes(&lock, tempBuff, sizeof(PAT));\
                                                        assert(UInt32, Stream_available(&lock), 0);\
                                                        assert(Bytes, tempBuff, (uint8_t*) PAT, sizeof(PAT));\
                                                        Stream_unlockRead(&stream, &lock);\
                                                    }\
                                                }

    printHeader("Lock", '#');

    const uint8_t PAT1[] = {0xAA, 0xBB, 0xCC, 0xDD, 0xEE, 0xFF};
    const uint8_t PAT2[] = {0x1A, 0x1B, 0x1C};
    const uint8_t PAT3[] = {0x0A, 0x0B, 0x0C, 0x0D};
    const uint8_t PAT4[] = {0x2A, 0x2B,};
    const uint8_t PAT5[36] = {0};

    uint8_t tempBuff[36];
    uint8_t streamBuff[36];
    StreamBuffer stream;
    StreamBuffer lock;

    Stream_init(&stream, streamBuff, sizeof(streamBuff));

    testLock(PAT1, 1);
    testLock(PAT1, 3);
    testLock(PAT1, 5);

    testLock(PAT2, 1);
    testLock(PAT2, 3);
    testLock(PAT2, 5);
    testLock(PAT2, 7);

    testLock(PAT3, 1);
    testLock(PAT3, 3);
    testLock(PAT3, 5);
    testLock(PAT3, 7);
    testLock(PAT3, 9);

    testLock(PAT4, 1);
    testLock(PAT4, 3);
    testLock(PAT4, 5);
    testLock(PAT4, 7);
    testLock(PAT4, 9);
    testLock(PAT4, 18);

    testLock(PAT5, 1);

    return 0;
#undef testLock
}
#endif
#if STREAM_TRANSPOSE
Stream_Result Test_Transpose_UInt8(void* arg, uint8_t* buf, Stream_LenType len) {
    StreamBuffer steram;
    Stream_init(&steram, buf, len);
    for (uint32_t i = 0; i < len; i++) {
        Stream_writeUInt8(&steram, i);
    }

    return Stream_Ok;
}

Stream_Result Test_Transpose_UInt16(void* arg, uint8_t* buf, Stream_LenType len) {
    StreamBuffer steram;
    Stream_init(&steram, buf, len);
    for (uint32_t i = 0; i < len; i++) {
        Stream_writeUInt16(&steram, i);
    }

    return Stream_Ok;
}

Stream_Result Test_Transpose_UInt32(void* arg, uint8_t* buf, Stream_LenType len) {
    StreamBuffer steram;
    Stream_init(&steram, buf, len);
    for (uint32_t i = 0; i < len; i++) {
        Stream_writeUInt32(&steram, i);
    }

    return Stream_Ok;
}

Stream_Result Test_Transpose_UInt64(void* arg, uint8_t* buf, Stream_LenType len) {
    StreamBuffer steram;
    Stream_init(&steram, buf, len);
    for (uint32_t i = 0; i < len; i++) {
        Stream_writeUInt64(&steram, i);
    }

    return Stream_Ok;
}

uint32_t Test_transpose(void) {
    #define testTranspose(TYPE, TY_VAL, L, N)   PRINTF("Transpose " #TYPE ", %ux%u\n", L, N); \
                                                for (cycles = 0; cycles < CYCLES_NUM; cycles++) { \
                                                    Stream_moveWritePos(&stream, L * N); \
                                                    Stream_transpose(&stream, N * L, tmpBuf, L, Test_Transpose_ ##TYPE, NULL); \
                                                    for (index = 0; index < N; index++) { \
                                                        for (uint32_t i = 0; i < L / sizeof(TY_VAL); i++) { \
                                                            assert(TYPE, Stream_get ##TYPE ##At(&stream, index * L + i * sizeof(TY_VAL)), i); \
                                                        } \
                                                    } \
                                                    Stream_moveReadPos(&stream, N * L); \
                                                }

    printHeader("Transpose", '#');

    uint8_t tmpBuf[127];
    uint8_t streamBuff[255];

    StreamBuffer stream;
    Stream_init(&stream, streamBuff, sizeof(streamBuff));
#if STREAM_UINT8
    testTranspose(UInt8, uint8_t, 1, 1);
    testTranspose(UInt8, uint8_t, 1, 3);
    testTranspose(UInt8, uint8_t, 1, 5);
    testTranspose(UInt8, uint8_t, 1, 7);

    testTranspose(UInt8, uint8_t, 2, 1);
    testTranspose(UInt8, uint8_t, 2, 3);
    testTranspose(UInt8, uint8_t, 2, 5);
    testTranspose(UInt8, uint8_t, 2, 7);

    testTranspose(UInt8, uint8_t, 4, 1);
    testTranspose(UInt8, uint8_t, 4, 3);
    testTranspose(UInt8, uint8_t, 4, 5);
    testTranspose(UInt8, uint8_t, 4, 7);

    testTranspose(UInt8, uint8_t, 7, 1);
    testTranspose(UInt8, uint8_t, 7, 3);
    testTranspose(UInt8, uint8_t, 7, 5);
    testTranspose(UInt8, uint8_t, 7, 7);
#endif
#if STREAM_UINT16
    testTranspose(UInt16, uint16_t, 2, 1);
    testTranspose(UInt16, uint16_t, 2, 3);
    testTranspose(UInt16, uint16_t, 2, 5);
    testTranspose(UInt16, uint16_t, 2, 7);

    testTranspose(UInt16, uint16_t, 4, 1);
    testTranspose(UInt16, uint16_t, 4, 3);
    testTranspose(UInt16, uint16_t, 4, 5);
    testTranspose(UInt16, uint16_t, 4, 7);
#endif
#if STREAM_UINT32
    testTranspose(UInt32, uint32_t, 4, 1);
    testTranspose(UInt32, uint32_t, 4, 3);
    testTranspose(UInt32, uint32_t, 4, 5);
    testTranspose(UInt32, uint32_t, 4, 7);

    testTranspose(UInt32, uint32_t, 8, 1);
    testTranspose(UInt32, uint32_t, 8, 3);
    testTranspose(UInt32, uint32_t, 8, 5);
    testTranspose(UInt32, uint32_t, 8, 7);
#endif
#if STREAM_UINT64
    testTranspose(UInt64, uint64_t, 8, 1);
    testTranspose(UInt64, uint64_t, 8, 3);
    testTranspose(UInt64, uint64_t, 8, 5);
    testTranspose(UInt64, uint64_t, 8, 7);

    testTranspose(UInt64, uint64_t, 16, 1);
    testTranspose(UInt64, uint64_t, 16, 3);
    testTranspose(UInt64, uint64_t, 16, 5);
    testTranspose(UInt64, uint64_t, 16, 7);
#endif
    return 0;
#undef testTranspose
}
/********************************************************/
#if OSTREAM && ISTREAM
uint32_t Test_IO_transpose(void) {
    #define testTranspose(TYPE, TY_VAL, L, N)   PRINTF("Transpose " #TYPE ", %ux%u\n", L, N); \
                                                for (cycles = 0; cycles < CYCLES_NUM; cycles++) { \
                                                    OStream_ignore(&stream, L * N); \
                                                    OStream_transpose(&stream, N * L, tmpBuf, L, Test_Transpose_ ##TYPE, NULL); \
                                                    for (index = 0; index < N; index++) { \
                                                        for (uint32_t i = 0; i < L / sizeof(TY_VAL); i++) { \
                                                            assert(TYPE, IStream_get ##TYPE ##At(&stream, index * L + i * sizeof(TY_VAL)), i); \
                                                        } \
                                                    } \
                                                    OStream_pop(&stream, N * L); \
                                                }

    printHeader("IO Transpose", '#');

    uint8_t tmpBuf[127];
    uint8_t streamBuff[255];

    OStream stream;
    OStream_init(&stream, NULL, streamBuff, sizeof(streamBuff));
#if STREAM_UINT8
    testTranspose(UInt8, uint8_t, 1, 1);
    testTranspose(UInt8, uint8_t, 1, 3);
    testTranspose(UInt8, uint8_t, 1, 5);
    testTranspose(UInt8, uint8_t, 1, 7);

    testTranspose(UInt8, uint8_t, 2, 1);
    testTranspose(UInt8, uint8_t, 2, 3);
    testTranspose(UInt8, uint8_t, 2, 5);
    testTranspose(UInt8, uint8_t, 2, 7);

    testTranspose(UInt8, uint8_t, 4, 1);
    testTranspose(UInt8, uint8_t, 4, 3);
    testTranspose(UInt8, uint8_t, 4, 5);
    testTranspose(UInt8, uint8_t, 4, 7);

    testTranspose(UInt8, uint8_t, 7, 1);
    testTranspose(UInt8, uint8_t, 7, 3);
    testTranspose(UInt8, uint8_t, 7, 5);
    testTranspose(UInt8, uint8_t, 7, 7);
#endif
#if STREAM_UINT16
    testTranspose(UInt16, uint16_t, 2, 1);
    testTranspose(UInt16, uint16_t, 2, 3);
    testTranspose(UInt16, uint16_t, 2, 5);
    testTranspose(UInt16, uint16_t, 2, 7);

    testTranspose(UInt16, uint16_t, 4, 1);
    testTranspose(UInt16, uint16_t, 4, 3);
    testTranspose(UInt16, uint16_t, 4, 5);
    testTranspose(UInt16, uint16_t, 4, 7);
#endif
#if STREAM_UINT32
    testTranspose(UInt32, uint32_t, 4, 1);
    testTranspose(UInt32, uint32_t, 4, 3);
    testTranspose(UInt32, uint32_t, 4, 5);
    testTranspose(UInt32, uint32_t, 4, 7);

    testTranspose(UInt32, uint32_t, 8, 1);
    testTranspose(UInt32, uint32_t, 8, 3);
    testTranspose(UInt32, uint32_t, 8, 5);
    testTranspose(UInt32, uint32_t, 8, 7);
#endif
#if STREAM_UINT64
    testTranspose(UInt64, uint64_t, 8, 1);
    testTranspose(UInt64, uint64_t, 8, 3);
    testTranspose(UInt64, uint64_t, 8, 5);
    testTranspose(UInt64, uint64_t, 8, 7);

    testTranspose(UInt64, uint64_t, 16, 1);
    testTranspose(UInt64, uint64_t, 16, 3);
    testTranspose(UInt64, uint64_t, 16, 5);
    testTranspose(UInt64, uint64_t, 16, 7);
#endif
    return 0;
#undef testTranspose
}
#endif
#endif
/********************************************************/
#define ASSERT_NUM(TYPE, DTYPE)     uint32_t Assert_ ##TYPE (DTYPE num1, DTYPE num2, uint16_t line, uint8_t cycle, uint8_t index) {\
                                        if (num1 != num2) {\
                                            PRINTF("Expected: %ld, Found: %ld\n", (long int) num2, (long int) num1);\
                                                return line << 16 | index << 8 | cycle;\
                                        }\
                                        return 0;\
                                    }

ASSERT_NUM(Char, char)
ASSERT_NUM(Int8, int8_t)
ASSERT_NUM(Int16, int16_t)
ASSERT_NUM(Int32, int32_t)
ASSERT_NUM(UInt8, uint8_t)
ASSERT_NUM(UInt16, uint16_t)
ASSERT_NUM(UInt32, uint32_t)
ASSERT_NUM(Float, float)
#if STREAM_UINT64
    ASSERT_NUM(Int64, int64_t)
    ASSERT_NUM(UInt64, uint64_t)
#endif // STREAM_UINT64
#if STREAM_DOUBLE
    ASSERT_NUM(Double, double)
#endif // STREAM_DOUBLE

uint32_t Assert_Bytes(uint8_t* a, uint8_t* b, uint32_t len, uint16_t line, uint8_t cycle, uint8_t index) {
    if (memcmp(a, b, len) != 0) {
        return line << 16 | index << 8 | cycle;
    }
    return 0;
}

void Assert_dump(StreamBuffer* stream) {
    uint8_t* ptr = stream->Data;
    Stream_LenType len = stream->Size;
    PRINTF("----------------------- Stream Dump -----------------------\n");
    PRINTF("RPos: %u, WPos: %u, Size: %u, Available: %u, Space: %u, Overflow: %u\n", stream->RPos, stream->WPos, stream->Size, Stream_available(stream), Stream_space(stream), stream->Overflow);
    PRINTF("[");
    while (len-- > 0) {
        PRINTF("0x%02X, ", *ptr++);
    }
    PRINTF("]\n");
    PRINTF("-----------------------------------------------------------\n");
}

int fputc(int c, FILE* f) {
	// Append CR before LF
	if (c == '\n') {
		HAL_UART_Transmit(&huart1, (uint8_t*) "\r", 1, 1);
		HAL_UART_Transmit(&huart3, (uint8_t*) "\r", 1, 1);
	}
	// Send Char
	HAL_UART_Transmit(&huart1, (uint8_t*) &c, 1, 1);
	HAL_UART_Transmit(&huart3, (uint8_t*) &c, 1, 1);
	return c;
}

/* USER CODE END 4 */

void Error_Handler(void)
{
  __disable_irq();
  while (1)
  {
  }
}

/************************ (C) COPYRIGHT STMicroelectronics *****END OF FILE****/
